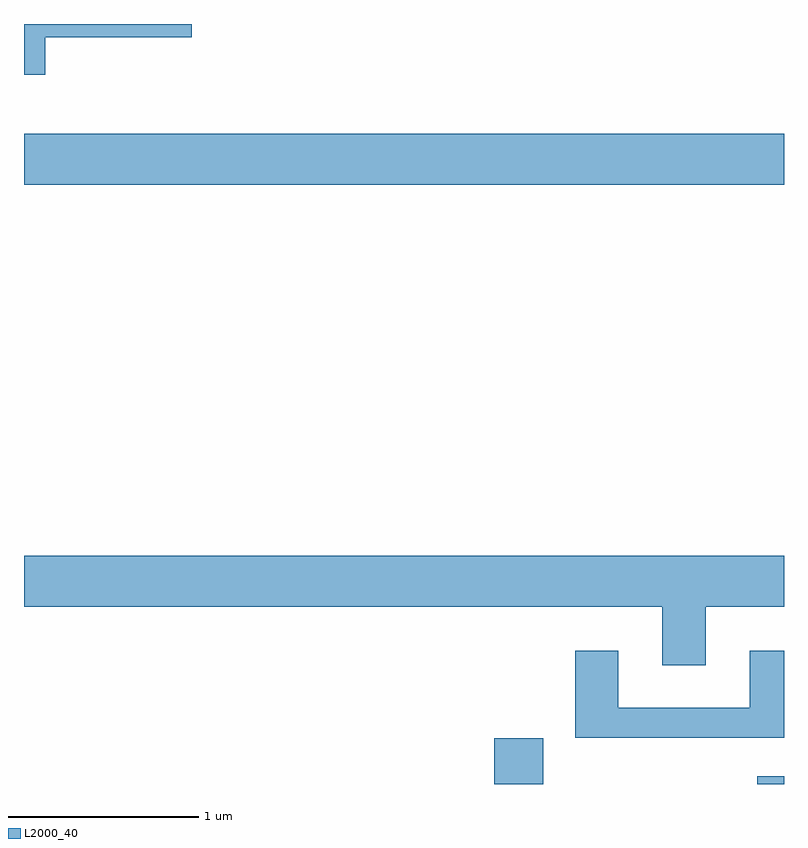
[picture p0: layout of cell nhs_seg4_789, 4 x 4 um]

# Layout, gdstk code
import gdstk
lib = gdstk.Library(unit=1e-6, precision=1e-09)
def R(c, l, rs):  # rectangles x0, y0, x1, y1
    for r in rs: c.add(gdstk.rectangle(r[:2], r[2:], *l))
def P(c, l, *ps):  # polygons
    for p in ps: c.add(gdstk.Polygon(p, *l))
L2000_40 = (2000, 40)

nhs_seg4_789 = lib.new_cell('nhs_seg4_789')
R(nhs_seg4_789, L2000_40, [(210.086,1335.982,210.344,1336.224), (211.471,1335.982,211.611,1336.024), (207.611,1339.136,211.611,1339.404)])
P(nhs_seg4_789, L2000_40, [(207.724,1339.911),(208.494,1339.911),(208.494,1339.982),(207.611,1339.982),(207.611,1339.716),(207.724,1339.716)],
  [(211.199,1336.916),(211.611,1336.916),(211.611,1337.184),(207.611,1337.184),(207.611,1336.916),(210.971,1336.916),(210.971,1336.606),(211.199,1336.606)],
  [(211.611,1336.684),(211.431,1336.684),(211.431,1336.384),(210.739,1336.384),(210.739,1336.684),(210.511,1336.684),(210.511,1336.226),(211.611,1336.226)])

lib.write_gds('nhs_seg4_789.gds')
